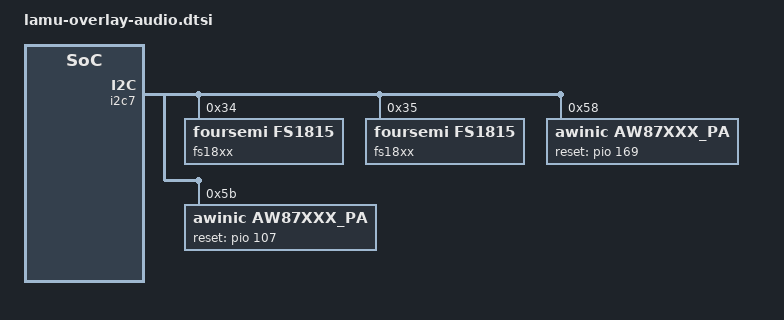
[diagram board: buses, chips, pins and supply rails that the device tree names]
/*[TN.NJDC] audio overlay file.start*/
/* fs1816 audiopa_fsm */
&i2c7 {
	status = "ok";

	fs18xx@34 {
		status = "ok";
		compatible = "foursemi,fs1815";
		reg = <0x34>;
	};
	fs18xx@35 {
		status = "ok";
		compatible = "foursemi,fs1815";
		reg = <0x35>;
	};
};
&mt6660 {
	status = "disabled";
};
/* aw87xxx audiopa_aw */
&i2c7 {
	aw87xxx_pa@58 {
		compatible = "awinic,aw87xxx_pa";
		reg = <0x58>;
		reset-gpio = <&pio 169 0>;
		dev_index = < 0 >;
		status = "okay";
	};

	aw87xxx_pa@5B {
		compatible = "awinic,aw87xxx_pa";
		reg = <0x5B>;
		reset-gpio = <&pio 107 0>;
		dev_index = < 1 >;
		status = "okay";
	};
};
/*[TN.NJDC] audio overlay file.end*/
